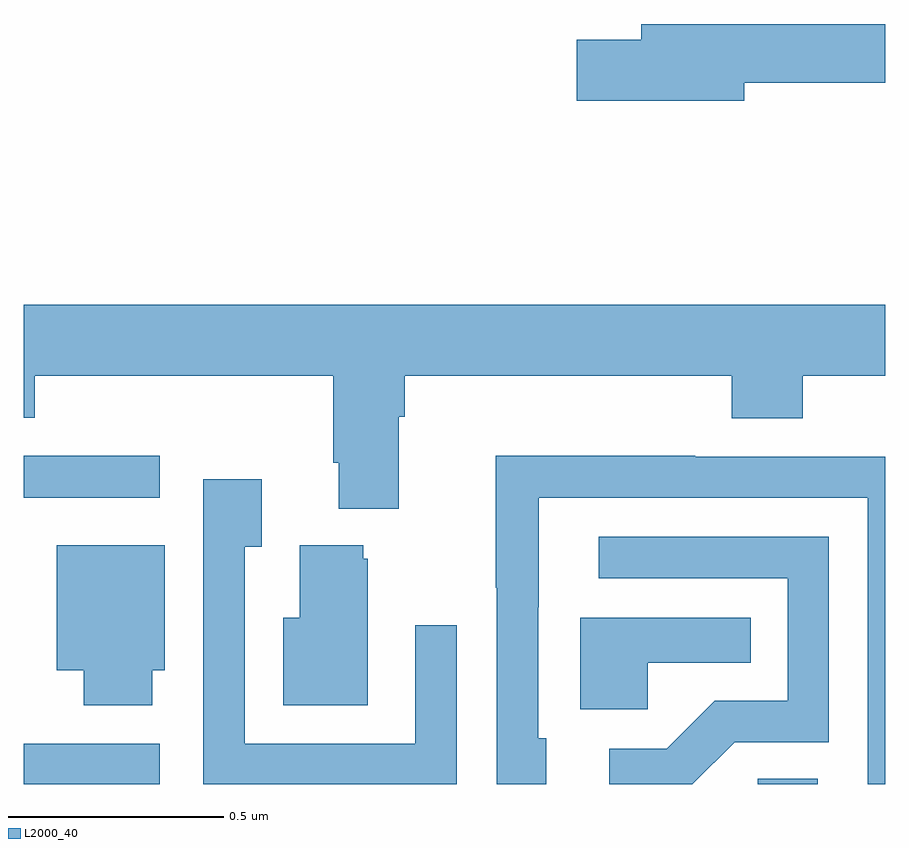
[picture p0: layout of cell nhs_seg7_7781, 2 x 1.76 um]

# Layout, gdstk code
import gdstk
lib = gdstk.Library(unit=1e-6, precision=1e-09)
def R(c, l, rs):  # rectangles x0, y0, x1, y1
    for r in rs: c.add(gdstk.rectangle(r[:2], r[2:], *l))
def P(c, l, *ps):  # polygons
    for p in ps: c.add(gdstk.Polygon(p, *l))
L2000_40 = (2000, 40)

nhs_seg7_7781 = lib.new_cell('nhs_seg7_7781')
R(nhs_seg7_7781, L2000_40, [(216,1001,216.316,1001.094), (217.704,1001,217.843,1001.012), (216,1001.664,216.316,1001.762)])
P(nhs_seg7_7781, L2000_40, [(217.672,1002.628),(218,1002.628),(218,1002.764),(217.433,1002.764),(217.433,1002.728),(217.284,1002.728),(217.284,1002.586),(217.672,1002.586)],
  [(216.871,1001.852),(216.884,1001.852),(216.884,1001.948),(217.643,1001.948),(217.643,1001.849),(217.808,1001.849),(217.808,1001.948),(218,1001.948),(218,1002.112),(216,1002.112),(216,1001.85),(216.026,1001.85),(216.026,1001.948),(216.719,1001.948),(216.719,1001.746),(216.731,1001.746),(216.731,1001.639),(216.871,1001.639)],
  [(217.213,1001.106),(217.194,1001.106),(217.194,1001.41),(217.195,1001.41),(217.195,1001.664),(217.959,1001.664),(217.959,1001),(218,1001),(218,1001.76),(217.559,1001.76),(217.559,1001.762),(217.096,1001.762),(217.096,1001.455),(217.098,1001.455),(217.098,1001),(217.213,1001)],
  [(217.005,1001.368),(216.909,1001.368),(216.909,1001.094),(216.513,1001.094),(216.513,1001.551),(216.553,1001.551),(216.553,1001.707),(216.417,1001.707),(216.417,1001),(217.005,1001)],
  [(217.65,1001.097),(217.869,1001.097),(217.869,1001.574),(217.335,1001.574),(217.335,1001.478),(217.773,1001.478),(217.773,1001.193),(217.604,1001.193),(217.493,1001.082),(217.359,1001.082),(217.359,1001),(217.552,1001)],
  [(216.799,1001.523),(216.788,1001.523),(216.788,1001.554),(216.641,1001.554),(216.641,1001.386),(216.602,1001.386),(216.602,1001.183),(216.799,1001.183)],
  [(216.298,1001.264),(216.328,1001.264),(216.328,1001.554),(216.077,1001.554),(216.077,1001.264),(216.14,1001.264),(216.14,1001.183),(216.298,1001.183)],
  [(217.449,1001.282),(217.688,1001.282),(217.688,1001.386),(217.292,1001.386),(217.292,1001.174),(217.449,1001.174)])

lib.write_gds('nhs_seg7_7781.gds')
